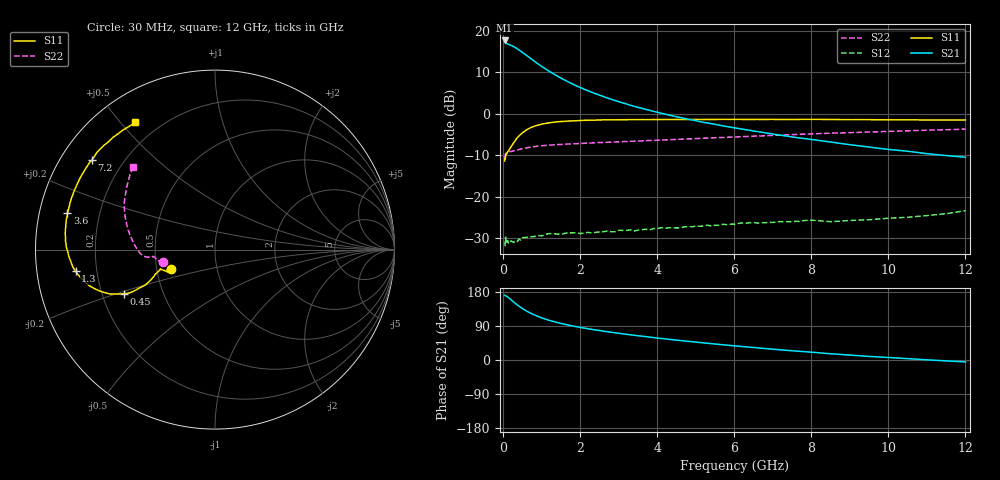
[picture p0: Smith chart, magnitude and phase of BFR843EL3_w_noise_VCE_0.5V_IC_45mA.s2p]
! Infineon Technologies  Discrete & RF Semiconductors
! BFR843EL3
! VCE =  0.5 V,  IC =  45 mA
! Common Emitter S-Parameters:  Aug 2013
# GHz  S  MA  R  50
!  f  S11  S21  S12  S22
! GHz  MAG  ANG  MAG  ANG  MAG  ANG  MAG  ANG
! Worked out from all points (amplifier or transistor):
!   103 points, 30 MHz to 12 GHz, reference 50 ohm
!   highest |S21| = 17.6 dB at 30 MHz (marker M1)
!   |S21| within 3 dB of that: start of sweep to 509.4 MHz
!   unconditionally stable (mu >= 1): start of sweep to end of sweep
!   at 400 MHz: K = 1.91, MAG = 17.3 dB, |S12| = -30.3 dB
!   at 3.7 GHz: K = 2.54, MAG = 7.5 dB, |S12| = -27.9 dB
!   at 12 GHz: K = 4.57, MAG = -3.1 dB, |S12| = -23.4 dB
!   lowest NFmin = 1.64 dB at 450 MHz
!   S11 on the Smith chart (normalised r, x): 30 MHz: 0.59, -0.14; 450 MHz: 0.29, -0.21; 1.3 GHz: 0.12, -0.07; 3.6 GHz: 0.08, +0.12; 7.2 GHz: 0.09, +0.32; 12 GHz: 0.11, +0.55
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0.03  0.2691 -156.3  7.599 170.8  0.0253 19.3  0.296 -166.2
0.04  0.2899 -157.6  7.384 170.2  0.0256 11.2  0.3124 -167.9
0.05  0.2865 -153.8  7.291 169.3  0.032 37.6  0.3234 -169.2
0.06  0.3236 -160.5  7.12 169.4  0.0325 12.6  0.3315 -170.8
0.07  0.322 -160.0  7.05 168.8  0.0275 9.7  0.3326 -171.5
0.2  0.4007 -154.4  6.62 158.6  0.0293 8.5  0.35 -173.6
0.3  0.4684 -153.1  6.273 150.0  0.0286 10.0  0.3596 -173.7
0.45  0.5649 -154.2  5.63 138.7  0.03 8.8  0.3743 -173.5
0.6  0.6373 -157.2  5.024 129.2  0.0323 11.4  0.3875 -173.9
0.8  0.7043 -161.9  4.28 119.1  0.033 12.4  0.4004 -175.0
1  0.7465 -166.0  3.681 111.0  0.0336 12.3  0.4103 -176.1
1.3  0.7862 -171.3  3.008 101.6  0.0358 11.4  0.42 -177.7
1.7  0.8133 -176.8  2.389 91.8  0.0366 11.3  0.4304 -179.6
2.1  0.8297 178.7  1.964 84.1  0.0365 11.9  0.4389 178.8
2.8  0.8413 172.3  1.487 73.2  0.0377 16.4  0.4532 175.8
3.6  0.8471 166.1  1.156 62.8  0.04 17.8  0.4692 172.4
4.1  0.8479 162.6  1.01 56.8  0.0423 18.8  0.4792 170.4
6.1  0.8506 150.3  0.662 36.5  0.0475 21.5  0.5257 161.5
7.2  0.8481 144.1  0.55 26.7  0.05 22.0  0.5497 156.3
8.5  0.8492 137.0  0.454 16.5  0.0499 21.9  0.5805 149.8
10.5  0.8408 127.8  0.352 3.6  0.0564 26.5  0.62 140.8
12  0.8393 121.9  0.298 -5.0  0.0676 27.3  0.6495 134.7
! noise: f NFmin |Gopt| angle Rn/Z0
0.45  1.64  0.27  181  0.12
0.9  1.67  0.29  182  0.12
1.5  1.68  0.3  183  0.11
1.9  1.69  0.31  -177  0.12
2.4  1.7  0.33  188  0.11
3.5  1.72  0.36  193  0.12
5.5  1.76  0.42  203  0.11
8  1.81  0.52  216  0.14
10  1.84  0.57  232  0.2
